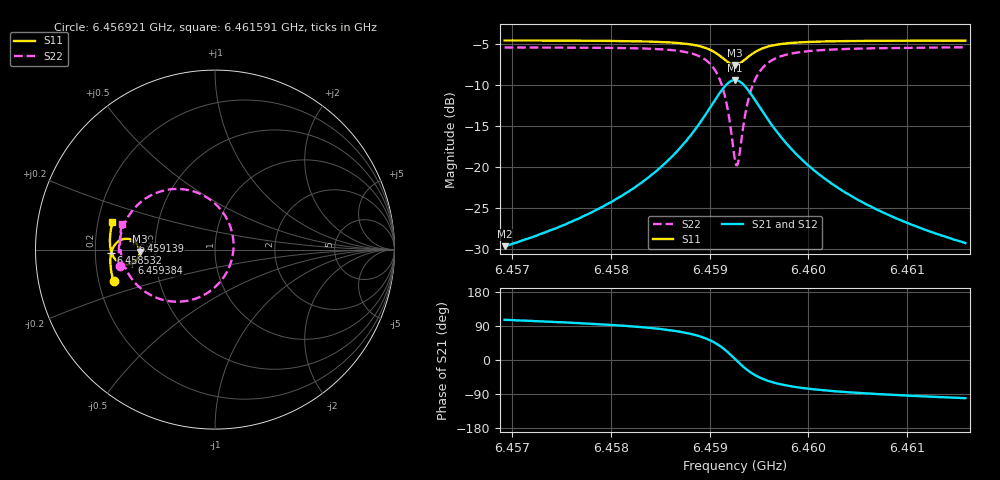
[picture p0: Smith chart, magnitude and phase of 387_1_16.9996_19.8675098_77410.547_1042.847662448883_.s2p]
#  HZ  S  RI  R  50.00
! Rohde & Schwarz Vector Network Analyzer
! Rohde-Schwarz,ZNB20-2Port,1311601062101988,3.16
! Created: UTC 3/20/2024, 11:09:23 PM
! freq[Hz]  re:S11  im:S11  re:S21  im:S21  re:S12  im:S12  re:S22  im:S22
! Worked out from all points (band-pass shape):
!   401 points, 6.456921 GHz to 6.461591 GHz, reference 50 ohm
!   highest |S21| = -9.37 dB at 6.459256 GHz (marker M1); lowest = -29.6 dB at 6.456921 GHz (marker M2)
!   |S21| within 3 dB of the highest: 6.459023 GHz to 6.459489 GHz (466.3 kHz wide, 0.00722 % of centre)
!   lowest |S11| = -7.5 dB at 6.459256 GHz (marker M3), VSWR 2.45, Z = 20.4 - j0.561 ohm
!   |S11| at or under -10 dB: nowhere
!   |S22| runs from -19.8 to -5.4 dB; largest |S21 - S12| = 0.013
!   S11 on the Smith chart (normalised r, x): 6.456921 GHz: 0.26, -0.14; 6.458532 GHz: 0.27, -0.01; 6.459139 GHz: 0.37, +0.05; 6.459384 GHz: 0.36, -0.07; 6.461591 GHz: 0.26, +0.12
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6.4569207e9  -0.5653 -0.1766  -0.00916 0.0318  -0.00741 0.0317  -0.5289 -0.0896
6.457703e9  -0.5801 -0.1085  -0.0059 0.0495  -0.00348 0.0488  -0.5356 0.000511
6.458135e9  -0.5833 -0.0657  -0.000244 0.0686  0.00299 0.0674  -0.5283 0.0677
6.4584853e9  -0.5799 -0.0242  0.0134 0.0971  0.0171 0.0944  -0.5039 0.1451
6.458532e9  -0.5785 -0.0178  0.0166 0.1024  0.0206 0.0996  -0.4979 0.1582
6.4587422e9  -0.5665 0.014  0.042 0.1338  0.0462 0.1291  -0.45 0.2293
6.458894e9  -0.5457 0.0403  0.0839 0.1638  0.0872 0.1574  -0.3732 0.2935
6.4590458e9  -0.5002 0.0601  0.1743 0.1832  0.1754 0.1758  -0.2081 0.3378
6.4591392e9  -0.4562 0.0505  0.263 0.1529  0.2634 0.147  -0.0441 0.29
6.4591859e9  -0.4354 0.0319  0.3063 0.111  0.3074 0.1057  0.0379 0.2155
6.4592559e9  -0.4206 -0.0113  0.3397 0.0158  0.343 0.00887  0.103 0.0392
6.4592676e9  -0.421 -0.0194  0.3395 -0.00179  0.3431 -0.00926  0.1031 0.00628
6.459291e9  -0.4244 -0.0347  0.3342 -0.036  0.3378 -0.0448  0.0924 -0.0585
6.4593844e9  -0.4614 -0.0764  0.2651 -0.1358  0.2643 -0.1486  -0.0465 -0.2441
6.4594311e9  -0.4839 -0.083  0.2214 -0.1581  0.2176 -0.1707  -0.1339 -0.2809
6.4594895e9  -0.5088 -0.0821  0.1729 -0.1675  0.1664 -0.1783  -0.2295 -0.2898
6.4596412e9  -0.5495 -0.0605  0.0908 -0.1516  0.0825 -0.1574  -0.3852 -0.2373
6.4598047e9  -0.5696 -0.033  0.0489 -0.1245  0.0415 -0.1271  -0.46 -0.1676
6.4600382e9  -0.5811 0.000609  0.0222 -0.0956  0.0165 -0.096  -0.5042 -0.091
6.4604119e9  -0.5857 0.0444  0.00569 -0.0679  0.00184 -0.0675  -0.526 -0.00837
6.4608205e9  -0.5836 0.085  -0.00133 -0.051  -0.00408 -0.0501  -0.5297 0.0552
6.4615912e9  -0.5711 0.1529  -0.00645 -0.0339  -0.00807 -0.033  -0.5183 0.145
